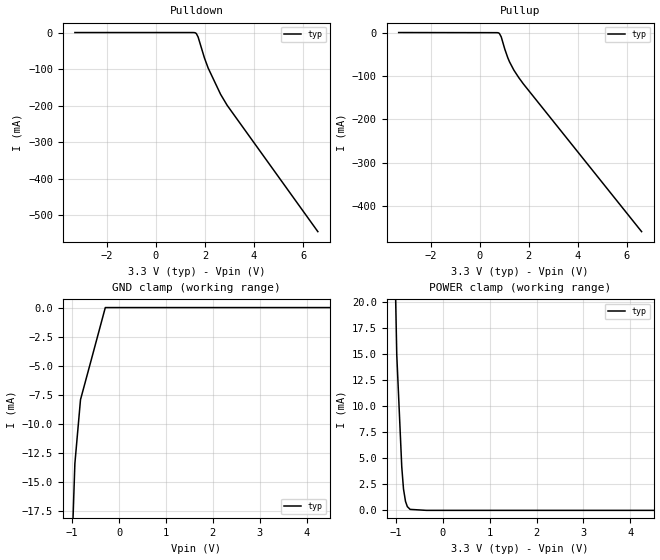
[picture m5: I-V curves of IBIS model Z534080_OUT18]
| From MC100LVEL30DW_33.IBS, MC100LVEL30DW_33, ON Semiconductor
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| (C) COPYRIGHT 1993-2000
| MENTOR GRAPHICS CORPORATION
| ICX STANDARD LIBRARY, ICX PROJECT MODELING,
| ICX CUSTOM MODELING, ICX VENDOR MODEL
| ALL RIGHTS RESERVED.
| THE FOLLOWING ARE TRADEMARKS OR SERVICE MARKS OF
| MENTOR GRAPHICS CORPORATION:ICX (R), ICX STANDARD
| LIBRARY(R), ICX PROJECT MODELING(R), ICX CUSTOM
| MODELING(R), qualityIBIS(TM), MODELVIEWER(TM),
| AND MODELEDITOR(TM)
| ALL COPIES OF SOFTWARE, INCLUDING BUT NOT LIMITED TO
| ANY MODIFICATIONS, ENHANCEMENTS OR DERIVATIVE WORKS,
| MUST CONTAIN ALL MENTOR GRAPHICS CORPORATION'S
| NOTICES AND LEGENDS, INCLUDING THOSE EMBEDDED IN
| SOFTWARE AND THOSE AFFIXED TO SOFTWARE MEDIUM
| AND CONTAINER, AS RECEIVED FROM MENTOR GRAPHICS
| CORPORATION.
| Model Application Version 1.89 2/18/99.
[Model] Z534080_OUT18
Model_type Output_ECL
Vref=1.300V
Rref=50.00ohms
Cref=0.000F
Vmeas=2.207V
C_comp 2.000pF NA NA
| variable typ   min   max
[Voltage Range] 3.300V NA NA
[POWER Clamp Reference] 3.300V NA NA
[Pullup Reference] 3.300V NA NA
[Pulldown Reference] 3.300V NA NA
[GND Clamp Reference] 0.000V NA NA
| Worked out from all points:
|   POWER clamp passes 1 mA (typ) near -0.80 V on its own axis
[GND Clamp]
-3.3V     -294.7mA   NA         NA
-941.9mV  -13.4mA    NA         NA
-821.9mV  -7.912mA   NA         NA
-585.7mV  -4.389mA   NA         NA
-292.8mV  0A         NA         NA
6.6V      0A         NA         NA
[Pulldown]
-3.3V     26.71uA    NA         NA
1.45V     10.56uA    NA         NA
1.553V    -77.16uA   NA         NA
1.591V    -510.7uA   NA         NA
1.611V    -993.8uA   NA         NA
1.649V    -2.919mA   NA         NA
1.721V    -12.38mA   NA         NA
1.978V    -69.44mA   NA         NA
2.13V     -97.13mA   NA         NA
2.637V    -169mA     NA         NA
2.904V    -199mA     NA         NA
6.6V      -544.4mA   NA         NA
[Pullup]
-3.3V     279.8uA    NA         NA
711mV     -24.26uA   NA         NA
805mV     -1.909mA   NA         NA
880mV     -9.86mA    NA         NA
1.026V    -38.25mA   NA         NA
1.216V    -67.27mA   NA         NA
1.396V    -86.69mA   NA         NA
1.599V    -104.2mA   NA         NA
6.6V      -459.4mA   NA         NA
[POWER Clamp]
-3.3V     936.3mA    NA         NA
-1.177V   77.64mA    NA         NA
-1.016V   22.65mA    NA         NA
-982mV    14.98mA    NA         NA
-875mV    4.174mA    NA         NA
-838mV    2.051mA    NA         NA
-795mV    857.4uA    NA         NA
-756mV    359.5uA    NA         NA
-697mV    94.01uA    NA         NA
-348.5mV  0A         NA         NA
6.6V      0A         NA         NA
[Ramp]
| variable typ min max
dV/dt_r 486.8m/518.0p NA NA
dV/dt_f 486.8m/574.9p NA NA
R_load = 50.0Ohms
